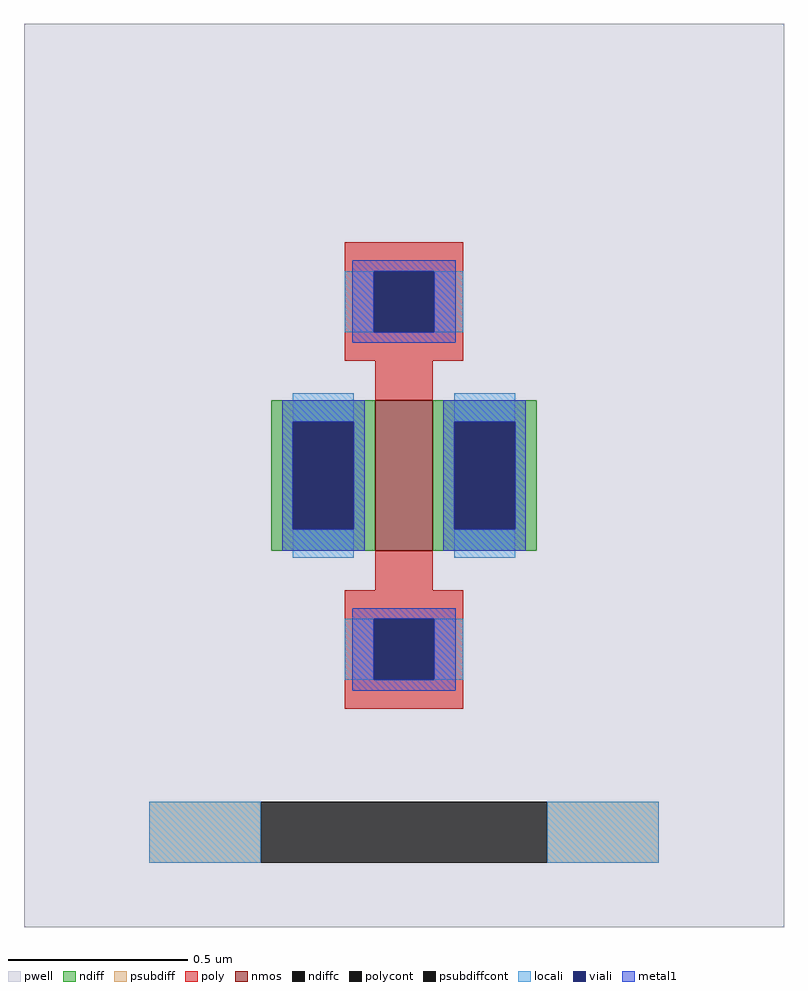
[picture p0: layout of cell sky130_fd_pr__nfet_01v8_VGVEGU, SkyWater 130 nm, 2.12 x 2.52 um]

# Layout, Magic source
magic
tech sky130A
magscale 1 2
<< pwell >>
rect -212 -252 212 252
<< nmos >>
rect -16 -42 16 42
<< ndiff >>
rect -74 30 -16 42
rect -74 -30 -62 30
rect -28 -30 -16 30
rect -74 -42 -16 -30
rect 16 30 74 42
rect 16 -30 28 30
rect 62 -30 74 30
rect 16 -42 74 -30
<< ndiffc >>
rect -62 -30 -28 30
rect 28 -30 62 30
<< psubdiff >>
rect -142 -216 -80 -182
rect 80 -216 142 -182
<< psubdiffcont >>
rect -80 -216 80 -182
<< poly >>
rect -33 114 33 130
rect -33 80 -17 114
rect 17 80 33 114
rect -33 64 33 80
rect -16 42 16 64
rect -16 -64 16 -42
rect -33 -80 33 -64
rect -33 -114 -17 -80
rect 17 -114 33 -80
rect -33 -130 33 -114
<< polycont >>
rect -17 80 17 114
rect -17 -114 17 -80
<< locali >>
rect -33 80 -17 114
rect 17 80 33 114
rect -62 30 -28 46
rect -62 -46 -28 -30
rect 28 30 62 46
rect 28 -46 62 -30
rect -33 -114 -17 -80
rect 17 -114 33 -80
rect -142 -216 -80 -182
rect 80 -216 142 -182
<< viali >>
rect -17 80 17 114
rect -62 -30 -28 30
rect 28 -30 62 30
rect -17 -114 17 -80
<< metal1 >>
rect -29 114 29 120
rect -29 80 -17 114
rect 17 80 29 114
rect -29 74 29 80
rect -68 30 -22 42
rect -68 -30 -62 30
rect -28 -30 -22 30
rect -68 -42 -22 -30
rect 22 30 68 42
rect 22 -30 28 30
rect 62 -30 68 30
rect 22 -42 68 -30
rect -29 -80 29 -74
rect -29 -114 -17 -80
rect 17 -114 29 -80
rect -29 -120 29 -114
<< properties >>
string FIXED_BBOX -159 -199 159 199
string gencell sky130_fd_pr__nfet_01v8
string library sky130
string parameters w 0.42 l 0.155 m 1 nf 1 diffcov 100 polycov 100 guard 1 glc 1 grc 1 gtc 1 gbc 1 tbcov 100 rlcov 100 topc 1 botc 1 poverlap 0 doverlap 1 lmin 0.15 wmin 0.42 compatible {sky130_fd_pr__nfet_01v8 sky130_fd_pr__nfet_01v8_lvt  sky130_fd_bs_flash__special_sonosfet_star  sky130_fd_pr__nfet_g5v0d10v5 sky130_fd_pr__nfet_05v0_nvt  sky130_fd_pr__nfet_03v3_nvt} full_metal 1 viasrc 100 viadrn 100 viagate 100 viagb 0 viagr 0 viagl 0 viagt 0
<< end >>
